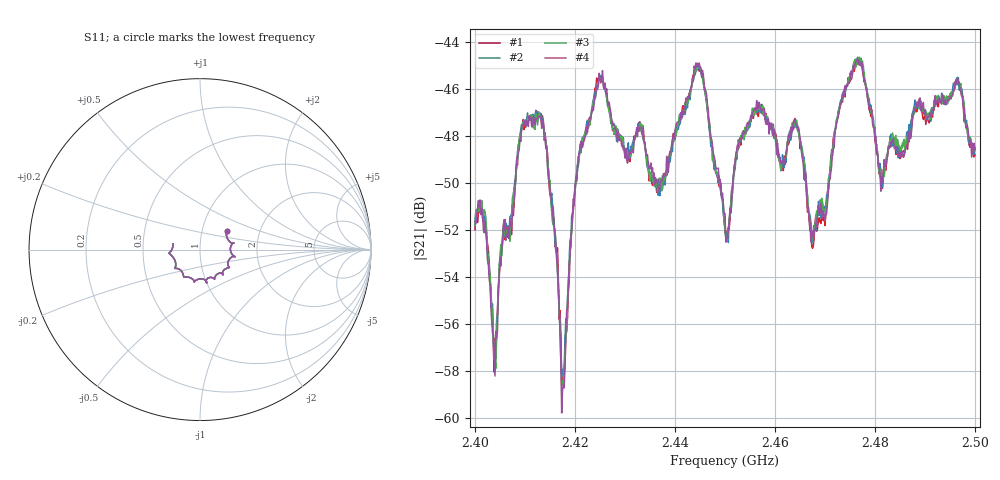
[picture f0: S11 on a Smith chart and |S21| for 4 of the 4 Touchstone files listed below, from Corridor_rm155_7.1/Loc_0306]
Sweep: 2.4 GHz to 2.5 GHz
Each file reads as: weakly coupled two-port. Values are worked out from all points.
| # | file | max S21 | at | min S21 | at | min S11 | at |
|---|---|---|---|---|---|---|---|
| 1 | Lab_139_1Ch1.s2p | -44.75 dB | 2.4765 GHz | -58.6 dB | 2.4175 GHz | -15.9 dB | 2.49 GHz |
| 2 | Lab_139_3Ch1.s2p | -44.66 dB | 2.4768 GHz | -58.2 dB | 2.4175 GHz | -15.9 dB | 2.4902 GHz |
| 3 | Lab_139_5Ch1.s2p | -44.67 dB | 2.4768 GHz | -58.6 dB | 2.4177 GHz | -15.9 dB | 2.49 GHz |
| 4 | Lab_139_8Ch1.s2p | -44.74 dB | 2.4765 GHz | -59.8 dB | 2.4173 GHz | -15.9 dB | 2.49 GHz |
